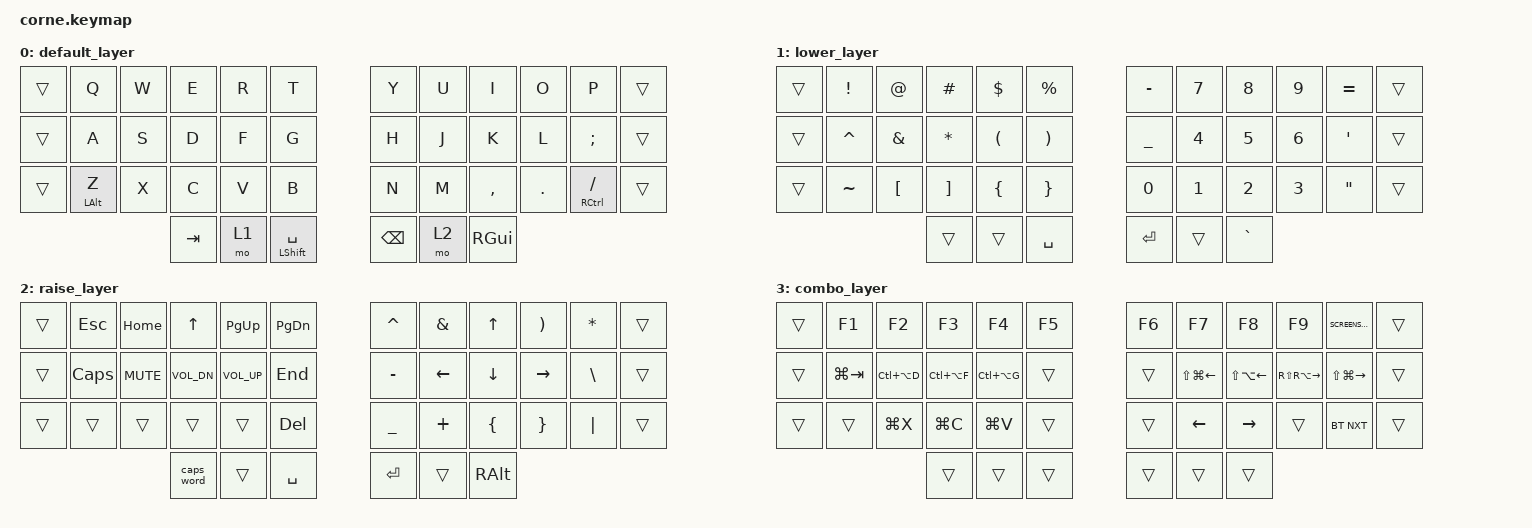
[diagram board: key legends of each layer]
/*
 * Copyright (c) 2020 The ZMK Contributors
 *
 * SPDX-License-Identifier: MIT
 */

#include <behaviors.dtsi>
#include <dt-bindings/zmk/bt.h>
#include <dt-bindings/zmk/keys.h>

/ {
    combos {
        compatible = "zmk,combos";

        ComboLayer {
            bindings = <&mo 3>;
            key-positions = <37 40>;
            slow-release;
            timeout-ms = <50>;
        };
    };

    keymap {
        compatible = "zmk,keymap";

        default_layer {
            // -----------------------------------------------------------------------------------------
            // |  Q  |  W  |  E  |  R  |  T  |   |  Y  |  U   |  I  |  O  |  P  |
            // |  A  |  S  |  D  |  F  |  G  |   |  H  |  J   |  K  |  L  |  ;  |
            // |  Z  |  X  |  C  |  V  |  B  |   |  N  |  M   |  ,  |  .  |  /  |
            //            | SHFT | LWR | SPC |   | BKSP | RSE | CMD |

            bindings = <
&trans  &kp Q           &kp W  &kp E    &kp R  &kp T              &kp Y     &kp U  &kp I          &kp O    &kp P           &trans
&trans  &kp A           &kp S  &kp D    &kp F  &kp G              &kp H     &kp J  &kp K          &kp L    &kp SEMI        &trans
&trans  &mt LEFT_ALT Z  &kp X  &kp C    &kp V  &kp B              &kp N     &kp M  &kp COMMA      &kp DOT  &mt RCTRL FSLH  &trans
                               &kp TAB  &mo 1  &mt LSHFT SPACE    &kp BSPC  &mo 2  &kp RIGHT_GUI
            >;
        };

        lower_layer {
            // -----------------------------------------------------------------------------------------
            // |  1  |  2  |  3  |  4  |  5  |   |  6  |  7  |  8  |  9  |  0  |
            // | TAB |  !  |  @  |  #  |  $  |   | LFT | DWN |  UP | RGT |  '  |
            // |CTRL |  %  |     |     |     |   |     |     |     |     |  "  |
            //             | GUI |     | SPC |   | ENT |     | ALT |

            bindings = <
&trans  &kp EXCL   &kp AT            &kp HASH           &kp DOLLAR            &kp PERCENT              &kp MINUS  &kp N7        &kp N8        &kp N9        &kp EQUAL  &trans
&trans  &kp CARET  &kp AMPERSAND     &kp ASTERISK       &kp LEFT_PARENTHESIS  &kp RIGHT_PARENTHESIS    &kp UNDER  &kp NUMBER_4  &kp N5        &kp NUMBER_6  &kp APOS   &trans
&trans  &kp TILDE  &kp LEFT_BRACKET  &kp RIGHT_BRACKET  &kp LEFT_BRACE        &kp RIGHT_BRACE          &kp N0     &kp NUMBER_1  &kp NUMBER_2  &kp NUMBER_3  &kp DQT    &trans
                                     &trans             &trans                &kp SPACE                &kp RET    &trans        &kp GRAVE
            >;
        };

        raise_layer {
            // -----------------------------------------------------------------------------------------
            // |  ESC|  @  |  #  |  $  |  %  |   |  ^  |  &  |  *  |  (  |  )  |
            // |  `  |     |     |     |     |   |  -  |  =  |  [  |  ]  |  \  |
            // |  ~  |     |     |     |     |   |  _  |  +  |  {  |  }  | "|" |
            //             | GUI |     | SPC |   | ENT |     | ALT |

            bindings = <
&trans  &kp ESC   &kp HOME    &kp UP_ARROW  &kp PAGE_UP      &kp PAGE_DOWN    &kp CARET  &kp AMPS  &kp UP          &kp RIGHT_PARENTHESIS  &kp ASTERISK  &trans
&trans  &kp CAPS  &kp K_MUTE  &kp C_VOL_DN  &kp C_VOLUME_UP  &kp END          &kp MINUS  &kp LEFT  &kp DOWN_ARROW  &kp RIGHT              &kp BSLH      &trans
&trans  &trans    &trans      &trans        &trans           &kp DELETE       &kp UNDER  &kp PLUS  &kp LBRC        &kp RBRC               &kp PIPE      &trans
                              &caps_word    &trans           &kp SPACE        &kp RET    &trans    &kp RALT
            >;
        };

        combo_layer {
            bindings = <
&trans  &kp F1       &kp F2         &kp F3         &kp F4         &kp F5    &kp F6  &kp F7            &kp F8                  &kp F9             &kp K_SCREENSAVER  &trans
&trans  &kp LG(TAB)  &kp LC(LA(D))  &kp LC(LA(F))  &kp LC(LA(G))  &trans    &trans  &kp LS(LG(LEFT))  &kp LS(LA(LEFT_ARROW))  &kp RS(RA(RIGHT))  &kp LS(LG(RIGHT))  &trans
&trans  &trans       &kp LG(X)      &kp LG(C)      &kp LG(V)      &trans    &trans  &kp LEFT          &kp RIGHT               &trans             &bt BT_NXT         &trans
                                    &trans         &trans         &trans    &trans  &trans            &trans
            >;
        };
    };
};
